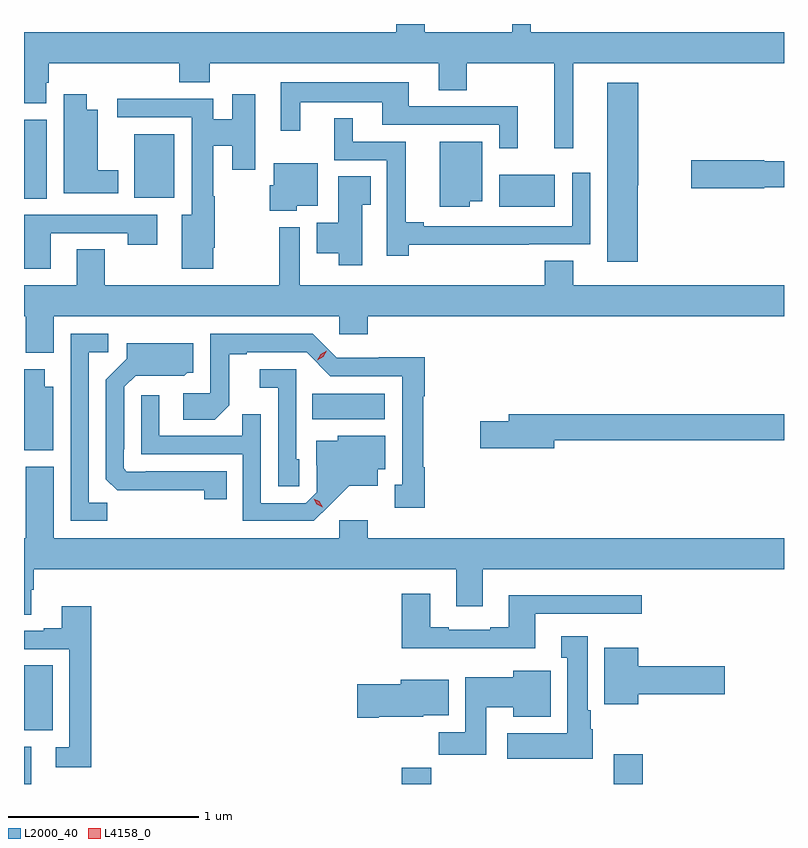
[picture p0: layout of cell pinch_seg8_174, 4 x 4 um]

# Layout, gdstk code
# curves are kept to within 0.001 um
import gdstk
lib = gdstk.Library(unit=1e-6, precision=1e-09)
def R(c, l, rs):  # rectangles x0, y0, x1, y1
    for r in rs: c.add(gdstk.rectangle(r[:2], r[2:], *l))
def P(c, l, *ps):  # polygons
    for p in ps: c.add(gdstk.Polygon(p, *l))
L2000_40 = (2000, 40)
L4158_0 = (4158, 0)

pinch_seg8_174 = lib.new_cell('pinch_seg8_174')
R(pinch_seg8_174, L2000_40, [(693.07,1144.675,693.109,1144.872), (695.057,1144.675,695.213,1144.76), (696.173,1144.675,696.326,1144.831), (693.07,1144.957,693.22,1145.3), (694.588,1146.596,694.969,1146.73), (695.57,1147.712,695.863,1147.882), (693.07,1147.756,693.19,1148.172), (693.65,1147.76,693.862,1148.095)])
P(pinch_seg8_174, L2000_40, [(695.96,1148.468),(697.07,1148.468),(697.07,1148.632),(695.738,1148.632),(695.738,1148.675),(695.639,1148.675),(695.639,1148.632),(695.178,1148.632),(695.178,1148.675),(695.03,1148.675),(695.03,1148.632),(693.07,1148.632),(693.07,1148.257),(693.187,1148.257),(693.187,1148.367),(693.2,1148.367),(693.2,1148.468),(693.887,1148.468),(693.887,1148.369),(694.047,1148.369),(694.047,1148.468),(695.252,1148.468),(695.252,1148.326),(695.4,1148.326),(695.4,1148.468),(695.861,1148.468),(695.861,1148.022),(695.96,1148.022)],
  [(695.669,1148.241),(695.095,1148.241),(695.095,1148.368),(694.421,1148.368),(694.421,1148.112),(694.525,1148.112),(694.525,1148.264),(694.955,1148.264),(694.955,1148.145),(695.571,1148.145),(695.571,1148.022),(695.669,1148.022)],
  [(696.299,1147.827),(696.304,1147.827),(696.304,1148.365),(696.14,1148.365),(696.14,1147.425),(696.299,1147.425)],
  [(694.066,1147.498),(694.074,1147.498),(694.074,1147.768),(694.066,1147.768),(694.066,1148.033),(694.166,1148.033),(694.166,1147.908),(694.288,1147.908),(694.288,1148.305),(694.166,1148.305),(694.166,1148.175),(694.066,1148.175),(694.066,1148.282),(693.561,1148.282),(693.561,1148.184),(693.953,1148.184),(693.953,1147.672),(693.899,1147.672),(693.899,1147.386),(694.066,1147.386)],
  [(693.565,1147.906),(693.457,1147.906),(693.457,1148.224),(693.4,1148.224),(693.4,1148.305),(693.278,1148.305),(693.278,1147.784),(693.565,1147.784)],
  [(695.096,1147.514),(695.726,1147.514),(695.726,1147.515),(696.051,1147.515),(696.051,1147.891),(695.955,1147.891),(695.955,1147.611),(695.173,1147.611),(695.173,1147.631),(695.078,1147.631),(695.078,1148.055),(694.801,1148.055),(694.801,1148.179),(694.703,1148.179),(694.703,1147.959),(694.98,1147.959),(694.98,1147.455),(695.096,1147.455)],
  [(695.416,1147.742),(695.482,1147.742),(695.482,1148.056),(695.258,1148.056),(695.258,1147.712),(695.416,1147.712)],
  [(696.966,1147.816),(697.07,1147.816),(697.07,1147.952),(696.966,1147.952),(696.966,1147.958),(696.582,1147.958),(696.582,1147.811),(696.966,1147.811)],
  [(694.506,1147.718),(694.615,1147.718),(694.615,1147.942),(694.385,1147.942),(694.385,1147.827),(694.363,1147.827),(694.363,1147.691),(694.506,1147.691)],
  [(694.849,1147.723),(694.895,1147.723),(694.895,1147.874),(694.724,1147.874),(694.724,1147.63),(694.61,1147.63),(694.61,1147.469),(694.727,1147.469),(694.727,1147.404),(694.849,1147.404)],
  [(693.211,1147.575),(693.616,1147.575),(693.616,1147.512),(693.772,1147.512),(693.772,1147.671),(693.07,1147.671),(693.07,1147.386),(693.211,1147.386)],
  [(693.226,1147.136),(694.728,1147.136),(694.728,1147.043),(694.88,1147.043),(694.88,1147.136),(697.07,1147.136),(697.07,1147.3),(695.962,1147.3),(695.962,1147.43),(695.81,1147.43),(695.81,1147.3),(694.521,1147.3),(694.521,1147.606),(694.413,1147.606),(694.413,1147.3),(693.495,1147.3),(693.495,1147.49),(693.347,1147.49),(693.347,1147.3),(693.07,1147.3),(693.07,1147.136),(693.079,1147.136),(693.079,1146.944),(693.226,1146.944)],
  [(695.179,1146.341),(695.171,1146.341),(695.171,1146.715),(695.179,1146.715),(695.179,1146.92),(694.938,1146.92),(694.938,1146.918),(694.716,1146.918),(694.59,1147.044),(694.05,1147.044),(694.05,1146.732),(693.909,1146.732),(693.909,1146.592),(694.073,1146.592),(694.149,1146.668),(694.149,1146.936),(694.243,1146.936),(694.243,1146.948),(694.557,1146.948),(694.683,1146.822),(695.06,1146.822),(695.06,1146.249),(695.021,1146.249),(695.021,1146.129),(695.179,1146.129)],
  [(693.507,1146.155),(693.411,1146.155),(693.411,1146.948),(693.514,1146.948),(693.514,1147.044),(693.315,1147.044),(693.315,1146.06),(693.507,1146.06)],
  [(694.136,1146.321),(693.712,1146.321),(693.712,1146.318),(693.612,1146.318),(693.594,1146.336),(693.594,1146.436),(693.597,1146.436),(693.597,1146.765),(693.657,1146.825),(693.914,1146.824),(693.93,1146.84),(693.961,1146.84),(693.961,1146.994),(693.611,1146.994),(693.611,1146.912),(693.501,1146.802),(693.501,1146.28),(693.56,1146.221),(694.018,1146.22),(694.018,1146.174),(694.136,1146.174)],
  [(693.223,1146.766),(693.178,1146.766),(693.178,1146.859),(693.07,1146.859),(693.07,1146.431),(693.223,1146.431)],
  [(694.518,1146.384),(694.503,1146.384),(694.503,1146.858),(694.311,1146.858),(694.311,1146.761),(694.407,1146.761),(694.407,1146.241),(694.518,1146.241)],
  [(694.678,1146.143),(694.781,1146.245),(694.933,1146.245),(694.933,1146.332),(694.972,1146.332),(694.972,1146.508),(694.722,1146.508),(694.722,1146.481),(694.607,1146.481),(694.607,1146.352),(694.611,1146.352),(694.611,1146.21),(694.554,1146.153),(694.317,1146.153),(694.317,1146.62),(694.219,1146.62),(694.219,1146.507),(693.783,1146.507),(693.783,1146.721),(693.687,1146.721),(693.687,1146.411),(694.221,1146.411),(694.221,1146.06),(694.594,1146.06)],
  [(695.86,1146.484),(697.07,1146.484),(697.07,1146.62),(695.621,1146.62),(695.621,1146.584),(695.472,1146.584),(695.472,1146.442),(695.86,1146.442)],
  [(693.109,1145.698),(693.122,1145.698),(693.122,1145.804),(695.345,1145.804),(695.345,1145.61),(695.485,1145.61),(695.485,1145.804),(697.07,1145.804),(697.07,1145.968),(694.88,1145.968),(694.88,1146.064),(694.728,1146.064),(694.728,1145.968),(693.226,1145.968),(693.226,1146.346),(693.079,1146.346),(693.079,1145.968),(693.07,1145.968),(693.07,1145.566),(693.109,1145.566)],
  [(695.761,1145.571),(696.322,1145.571),(696.322,1145.668),(695.621,1145.668),(695.621,1145.5),(695.525,1145.5),(695.525,1145.487),(695.305,1145.487),(695.305,1145.5),(695.209,1145.5),(695.209,1145.677),(695.057,1145.677),(695.057,1145.39),(695.761,1145.39)],
  [(693.425,1145.611),(693.269,1145.611),(693.269,1145.494),(693.173,1145.494),(693.173,1145.481),(693.07,1145.481),(693.07,1145.385),(693.309,1145.385),(693.309,1144.869),(693.237,1144.869),(693.237,1144.764),(693.425,1144.764)],
  [(696.064,1144.962),(696.052,1144.962),(696.052,1145.062),(696.037,1145.062),(696.037,1145.452),(695.897,1145.452),(695.897,1145.339),(695.93,1145.339),(695.93,1144.942),(695.613,1144.942),(695.613,1144.808),(696.064,1144.808)],
  [(696.304,1145.147),(696.757,1145.147),(696.757,1145.294),(696.304,1145.294),(696.304,1145.392),(696.125,1145.392),(696.125,1145.096),(696.304,1145.096)],
  [(695.503,1145.078),(695.645,1145.078),(695.645,1145.03),(695.842,1145.03),(695.842,1145.272),(695.645,1145.272),(695.645,1145.236),(695.393,1145.236),(695.393,1144.948),(695.254,1144.948),(695.254,1144.83),(695.503,1144.83)],
  [(694.936,1145.03),(695.172,1145.03),(695.172,1145.036),(695.305,1145.036),(695.305,1145.224),(695.054,1145.224),(695.054,1145.201),(694.824,1145.201),(694.824,1145.023),(694.936,1145.023)])
P(pinch_seg8_174, L4158_0, [(694.614,1146.905),(694.614,1146.905),(694.631,1146.937),(694.663,1146.956),(694.663,1146.956),(694.663,1146.956),(694.646,1146.924),(694.614,1146.905)],
  [(694.642,1146.132),(694.612,1146.147),(694.594,1146.176),(694.594,1146.176),(694.594,1146.176),(694.625,1146.162),(694.642,1146.132),(694.642,1146.132)])

lib.write_gds('pinch_seg8_174.gds')
